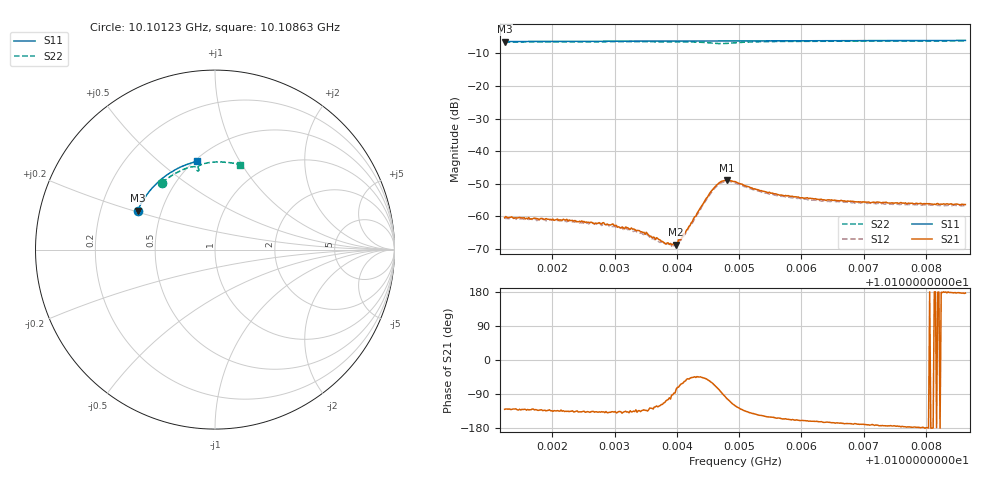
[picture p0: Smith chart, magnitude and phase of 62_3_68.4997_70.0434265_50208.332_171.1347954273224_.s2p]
#  HZ  S  RI  R  50.00
! Rohde & Schwarz Vector Network Analyzer
! Rohde-Schwarz,ZNB20-2Port,1311601062101988,3.16
! Created: UTC 3/20/2024, 5:06:33 PM
! freq[Hz]  re:S11  im:S11  re:S21  im:S21  re:S12  im:S12  re:S22  im:S22
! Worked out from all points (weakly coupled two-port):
!   401 points, 10.10123 GHz to 10.10863 GHz, reference 50 ohm
!   highest |S21| = -48.95 dB at 10.1048 GHz (marker M1); lowest = -68.8 dB at 10.10399 GHz (marker M2)
!   lowest |S11| = -6.3 dB at 10.10123 GHz (marker M3), VSWR 2.86, Z = 18.3 + j10.3 ohm
!   |S11| at or under -10 dB: nowhere
!   |S22| runs from -7.0 to -6.1 dB; largest |S21 - S12| = 0.00037
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1.0101233e10  -0.4312 0.2162  -0.000611 -0.000723  -0.000516 -0.000778  -0.2949 0.3723
1.0101991e10  -0.4108 0.2577  -0.000609 -0.000636  -0.000571 -0.000664  -0.2562 0.4025
1.0102472e10  -0.3959 0.2827  -0.000615 -0.000581  -0.000518 -0.000588  -0.2298 0.4198
1.0102731e10  -0.3872 0.2959  -0.000574 -0.000519  -0.000512 -0.000565  -0.215 0.4283
1.010299e10  -0.3779 0.3085  -0.000533 -0.000485  -0.000475 -0.000513  -0.1997 0.4361
1.0103194e10  -0.3705 0.3183  -0.000492 -0.000453  -0.000434 -0.00047  -0.1873 0.4421
1.0103545e10  -0.357 0.335  -0.000341 -0.000382  -0.0003 -0.000394  -0.165 0.4513
1.0103712e10  -0.3504 0.3426  -0.000228 -0.000373  -0.000176 -0.000362  -0.1538 0.4552
1.0103841e10  -0.3452 0.3485  -0.000105 -0.000372  -9.99e-05 -0.000366  -0.1448 0.4578
1.0103952e10  -0.3405 0.3532  1.79e-05 -0.000385  4.57e-05 -0.000346  -0.1367 0.4599
1.0103989e10  -0.3389 0.3551  8.41e-05 -0.000353  9.85e-05 -0.00036  -0.1339 0.4604
1.0104026e10  -0.3375 0.3566  0.000136 -0.00041  0.000145 -0.000365  -0.131 0.4608
1.01041e10  -0.3342 0.36  0.000261 -0.00046  0.000278 -0.000384  -0.1252 0.4616
1.0104563e10  -0.314 0.3791  0.00125 -0.00215  0.00136 -0.00197  -0.0895 0.4482
1.0104692e10  -0.3081 0.3842  0.000486 -0.00329  0.000754 -0.0031  -0.0923 0.4391
1.0104803e10  -0.3031 0.3885  -0.000746 -0.00349  -0.000399 -0.00341  -0.0996 0.4408
1.0104933e10  -0.2973 0.3938  -0.00173 -0.00293  -0.00141 -0.00294  -0.1011 0.4511
1.0105469e10  -0.2714 0.4135  -0.002 -0.00115  -0.00181 -0.00127  -0.067 0.477
1.0105691e10  -0.2604 0.4213  -0.00191 -0.000862  -0.00174 -0.00102  -0.0515 0.4813
1.0106172e10  -0.2358 0.4369  -0.00177 -0.000591  -0.00161 -0.000702  -0.0186 0.4865
1.0107411e10  -0.1684 0.4698  -0.00158 -0.000171  -0.0015 -0.00031  0.0626 0.4868
1.0108632e10  -0.0981 0.4917  -0.00151 8.83e-05  -0.00144 -4.35e-05  0.1398 0.4733
